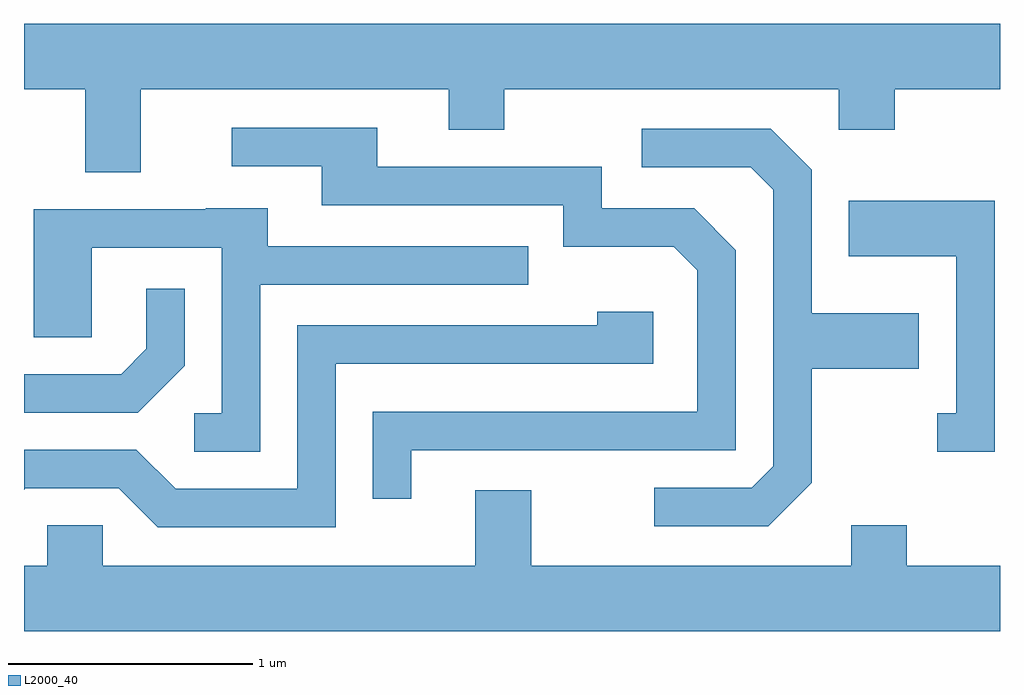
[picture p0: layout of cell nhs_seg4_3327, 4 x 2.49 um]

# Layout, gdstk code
import gdstk
lib = gdstk.Library(unit=1e-6, precision=1e-09)
def P(c, l, *ps):  # polygons
    for p in ps: c.add(gdstk.Polygon(p, *l))
L2000_40 = (2000, 40)

nhs_seg4_3327 = lib.new_cell('nhs_seg4_3327')
P(nhs_seg4_3327, L2000_40, [(282.089,1383.536),(283.351,1383.536),(283.351,1383.371),(283.579,1383.371),(283.579,1383.536),(284.951,1383.536),(284.951,1383.371),(285.179,1383.371),(285.179,1383.536),(285.611,1383.536),(285.611,1383.804),(281.611,1383.804),(281.611,1383.536),(281.861,1383.536),(281.861,1383.196),(282.089,1383.196)],
  [(283.199,1382.056),(284.529,1382.056),(284.529,1382.877),(284.357,1383.049),(283.979,1383.049),(283.979,1383.219),(283.059,1383.219),(283.059,1383.379),(282.463,1383.379),(282.463,1383.221),(282.831,1383.221),(282.831,1383.061),(283.821,1383.061),(283.821,1382.891),(284.274,1382.891),(284.371,1382.794),(284.371,1382.214),(283.041,1382.214),(283.041,1381.858),(283.199,1381.858)],
  [(284.839,1381.924),(284.839,1382.391),(285.279,1382.391),(285.279,1382.619),(284.839,1382.619),(284.839,1383.207),(284.672,1383.374),(284.143,1383.374),(284.143,1383.216),(284.589,1383.216),(284.681,1383.124),(284.681,1381.992),(284.594,1381.904),(284.193,1381.904),(284.193,1381.746),(284.662,1381.746)],
  [(285.589,1383.079),(284.991,1383.079),(284.991,1382.851),(285.431,1382.851),(285.431,1382.209),(285.353,1382.209),(285.353,1382.051),(285.589,1382.051)],
  [(282.579,1382.736),(283.678,1382.736),(283.678,1382.894),(282.609,1382.894),(282.609,1383.049),(282.355,1383.049),(282.355,1383.044),(281.651,1383.044),(281.651,1382.521),(281.889,1382.521),(281.889,1382.886),(282.421,1382.886),(282.421,1382.209),(282.308,1382.209),(282.308,1382.051),(282.579,1382.051)],
  [(282.269,1382.404),(282.269,1382.718),(282.111,1382.718),(282.111,1382.472),(282.009,1382.369),(281.611,1382.369),(281.611,1382.211),(282.077,1382.211)],
  [(282.889,1382.411),(284.189,1382.411),(284.189,1382.624),(283.961,1382.624),(283.961,1382.569),(282.731,1382.569),(282.731,1381.899),(282.232,1381.899),(282.072,1382.059),(281.611,1382.059),(281.611,1381.895),(281.617,1381.901),(281.999,1381.901),(282.159,1381.741),(282.889,1381.741)],
  [(285.611,1381.584),(285.229,1381.584),(285.229,1381.749),(285.001,1381.749),(285.001,1381.584),(283.689,1381.584),(283.689,1381.894),(283.461,1381.894),(283.461,1381.584),(281.934,1381.584),(281.934,1381.749),(281.706,1381.749),(281.706,1381.584),(281.611,1381.584),(281.611,1381.316),(285.611,1381.316)])

lib.write_gds('nhs_seg4_3327.gds')
